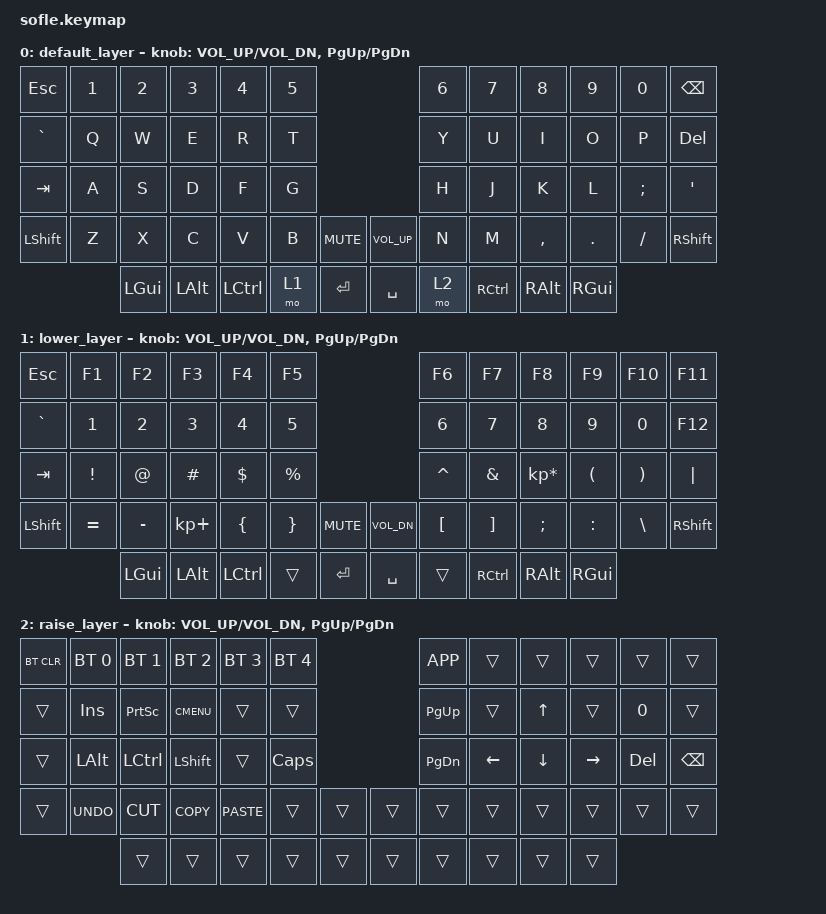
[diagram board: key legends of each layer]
/*
 * Copyright (c) 2020 The ZMK Contributors
 *
 * SPDX-License-Identifier: MIT
 */

#include <behaviors.dtsi>
#include <dt-bindings/zmk/keys.h>
#include <dt-bindings/zmk/bt.h>

/ {
    keymap {
        compatible = "zmk,keymap";

        default_layer {
// ------------------------------------------------------------------------------------------------------------
// | ESC   |  1  |  2  |  3   |  4   |  5   |                   |  6   |  7    |  8    |  9   |   0   | BKSPC |
// |  `    |  Q  |  W  |  E   |  R   |  T   |                   |  Y   |  U    |  I    |  O   |   P   | DEL   |
// |  TAB  |  A  |  S  |  D   |  F   |  G   |                   |  H   |  J    |  K    |  L   |   ;   |   '   |
// | SHIFT |  Z  |  X  |  C   |  V   |  B   |  MUTE  |  | VOLUP |  N   |  M    |  ,    |  .   |   /   | SHIFT |
//               | GUI | ALT  | CTRL | LOWER|  ENTER |  | SPACE | RAISE| CTRL  | ALT   | GUI  |
            bindings = <
&kp ESC   &kp N1 &kp N2   &kp N3   &kp N4    &kp N5                        &kp N6 &kp N7    &kp N8    &kp N9   &kp N0   &kp BSPC
&kp GRAVE &kp Q  &kp W    &kp E    &kp R     &kp T                         &kp Y  &kp U     &kp I     &kp O    &kp P    &kp DEL
&kp TAB   &kp A  &kp S    &kp D    &kp F     &kp G                         &kp H  &kp J     &kp K     &kp L    &kp SEMI &kp SQT
&kp LSHFT &kp Z  &kp X    &kp C    &kp V     &kp B &kp C_MUTE &kp C_VOL_UP &kp N  &kp M     &kp COMMA &kp DOT  &kp FSLH &kp RSHFT
                 &kp LGUI &kp LALT &kp LCTRL &mo 1  &kp RET    &kp SPACE &mo 2  &kp RCTRL &kp RALT  &kp RGUI
            >;

            sensor-bindings = <&inc_dec_kp C_VOL_UP C_VOL_DN &inc_dec_kp PG_UP PG_DN>;
        };

        lower_layer {
// TODO: Some binds are waiting for shifted keycode support.
// ------------------------------------------------------------------------------------------------------------
// |  ESC  |  F1 |  F2 |  F3  |  F4  |  F5  |                   |  F6  |  F7   |  F8   |  F9  |  F10  |  F11  |
// | `     |   1 |   2 |   3  |   4  |   5  |                   |   6  |   7   |   8   |   9  |    0  |  F12  |
// |  TAB  |  !  |  @  |  #   |  $   |  %   |                   |  ^   |  &    |  *    |  (   |   )   |   |   |
// | SHIFT |  =  |  -  |  +   |  {   |  }   |  MUTE  |  | VOLDN |  [   |  ]    |  ;    |  :   |   \   | SHIFT |
//               | GUI | ALT  | CTRL |      |  ENTER |  | SPACE |      | CTRL  | ALT   | GUI  |
            bindings = <
&kp ESC   &kp F1    &kp F2    &kp F3      &kp F4    &kp F5                            &kp F6    &kp F7   &kp F8          &kp F9    &kp F10   &kp F11
&kp GRAVE &kp N1    &kp N2    &kp N3      &kp N4    &kp N5                            &kp N6    &kp N7   &kp N8          &kp N9    &kp N0    &kp F12
&kp TAB   &kp EXCL  &kp AT    &kp HASH    &kp DLLR  &kp PRCNT                         &kp CARET &kp AMPS &kp KP_MULTIPLY &kp LPAR  &kp RPAR  &kp PIPE
&kp LSHFT &kp EQUAL &kp MINUS &kp KP_PLUS &kp LBRC  &kp RBRC  &kp C_MUTE &kp C_VOL_DN &kp LBKT  &kp RBKT &kp SEMI        &kp COLON &kp BSLH  &kp RSHFT
                    &kp LGUI  &kp LALT    &kp LCTRL &trans    &kp RET    &kp SPACE    &trans  &kp RCTRL &kp RALT  &kp RGUI
            >;

            sensor-bindings = <&inc_dec_kp C_VOL_UP C_VOL_DN &inc_dec_kp PG_UP PG_DN>;
        };

        raise_layer {
// ------------------------------------------------------------------------------------------------------------
// |BTCLR| BT1  | BT2  |  BT3  |  BT4  |  BT5 |                | KAPP |      |       |      |       |       |
// |     | INS  | PSCR | GUI   |       |      |                | PGUP |      |   ^   |      |       |       |
// |     | ALT  | CTRL | SHIFT |       | CAPS |                | PGDN |   <- |   v   |  ->  |  DEL  | BKSPC |
// |     | UNDO | CUT  | COPY  | PASTE |      |      |  |      |      |      |       |      |       |       |
//              |      |       |       |      |      |  |      |      |      |       |      |
            bindings = <
&bt BT_CLR &bt BT_SEL 0 &bt BT_SEL 1 &bt BT_SEL 2 &bt BT_SEL 3 &bt BT_SEL 4             &kp K_APP &trans    &trans   &trans    &trans  &trans
&trans     &kp INS      &kp PSCRN    &kp K_CMENU  &trans       &trans                   &kp PG_UP &trans    &kp UP   &trans    &kp N0  &trans
&trans     &kp LALT     &kp LCTRL    &kp LSHFT    &trans       &kp CLCK                 &kp PG_DN &kp LEFT  &kp DOWN &kp RIGHT &kp DEL &kp BSPC
&trans     &kp K_UNDO   &kp K_CUT    &kp K_COPY   &kp K_PASTE  &trans  &trans   &trans  &trans    &trans    &trans   &trans    &trans  &trans
                        &trans       &trans       &trans       &trans  &trans   &trans  &trans    &trans    &trans   &trans
            >;

            sensor-bindings = <&inc_dec_kp C_VOL_UP C_VOL_DN &inc_dec_kp PG_UP PG_DN>;
        };
    };
};
